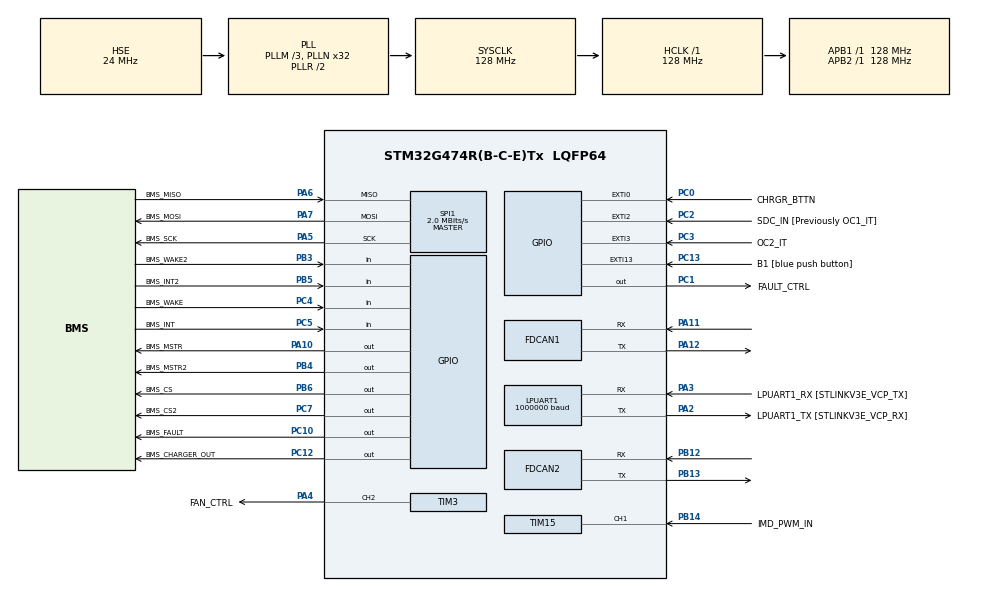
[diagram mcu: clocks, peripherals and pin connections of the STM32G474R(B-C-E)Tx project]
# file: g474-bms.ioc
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Dma.LPUART1_TX.0.Direction=DMA_MEMORY_TO_PERIPH
Dma.LPUART1_TX.0.EventEnable=DISABLE
Dma.LPUART1_TX.0.Instance=DMA1_Channel1
Dma.LPUART1_TX.0.MemDataAlignment=DMA_MDATAALIGN_BYTE
Dma.LPUART1_TX.0.MemInc=DMA_MINC_ENABLE
Dma.LPUART1_TX.0.Mode=DMA_NORMAL
Dma.LPUART1_TX.0.PeriphDataAlignment=DMA_PDATAALIGN_BYTE
Dma.LPUART1_TX.0.PeriphInc=DMA_PINC_DISABLE
Dma.LPUART1_TX.0.Polarity=HAL_DMAMUX_REQ_GEN_RISING
Dma.LPUART1_TX.0.Priority=DMA_PRIORITY_LOW
Dma.LPUART1_TX.0.RequestNumber=1
Dma.LPUART1_TX.0.SignalID=NONE
Dma.LPUART1_TX.0.SyncEnable=DISABLE
Dma.LPUART1_TX.0.SyncPolarity=HAL_DMAMUX_SYNC_NO_EVENT
Dma.LPUART1_TX.0.SyncRequestNumber=1
Dma.LPUART1_TX.0.SyncSignalID=NONE
Dma.Request0=LPUART1_TX
FDCAN1.AutoRetransmission=ENABLE
FDCAN1.CalculateBaudRateNominal=500000
FDCAN1.CalculateTimeBitNominal=2000
FDCAN1.CalculateTimeQuantumNominal=125.0
FDCAN1.ClockDivider=FDCAN_CLOCK_DIV1
FDCAN1.DataSyncJumpWidth=1
FDCAN1.NominalPrescaler=16
FDCAN1.NominalSyncJumpWidth=1
FDCAN1.NominalTimeSeg1=13
FDCAN1.NominalTimeSeg2=2
FDCAN2.CalculateBaudRateNominal=1000000
FDCAN2.CalculateTimeBitNominal=1000
FDCAN2.CalculateTimeQuantumNominal=62.5
FDCAN2.NominalPrescaler=8
FDCAN2.NominalTimeSeg1=13
FDCAN2.NominalTimeSeg2=2
LPUART1.BaudRate=1000000
Mcu.Family=STM32G4
Mcu.Name=STM32G474R(B-C-E)Tx
Mcu.Package=LQFP64
NVIC.DMA1_Channel1_IRQn=true\:0\:0\:false\:false\:true\:false\:true\:true
NVIC.EXTI15_10_IRQn=true\:0\:0\:false\:false\:true\:true\:true\:true
NVIC.FDCAN1_IT0_IRQn=true\:0\:0\:false\:false\:true\:true\:true\:true
NVIC.LPUART1_IRQn=true\:0\:0\:false\:false\:true\:true\:true\:true
NVIC.PriorityGroup=NVIC_PRIORITYGROUP_4
NVIC.TIM1_BRK_TIM15_IRQn=true\:0\:0\:false\:false\:true\:true\:true\:true
NVIC.TIM1_UP_TIM16_IRQn=true\:0\:0\:false\:false\:true\:true\:true\:true
PA10.GPIO_Label=BMS_MSTR
PA10.Signal=GPIO_Output
PA11.Mode=FDCAN_Activate
PA11.Signal=FDCAN1_RX
PA12.Mode=FDCAN_Activate
PA12.Signal=FDCAN1_TX
PA13.GPIO_Label=T_SWDIO
PA13.Mode=Serial_Wire
PA13.Signal=SYS_JTMS-SWDIO
PA14.GPIO_Label=T_SWCLK
PA14.Mode=Serial_Wire
PA14.Signal=SYS_JTCK-SWCLK
PA2.GPIO_Label=LPUART1_TX [STLINKV3E_VCP_RX]
PA2.Mode=Asynchronous
PA2.Signal=LPUART1_TX
PA3.GPIO_Label=LPUART1_RX [STLINKV3E_VCP_TX]
PA3.Mode=Asynchronous
PA3.Signal=LPUART1_RX
PA4.GPIO_Label=FAN_CTRL
PA4.Signal=S_TIM3_CH2
PA5.GPIO_Label=BMS_SCK
PA5.Mode=Full_Duplex_Master
PA5.Signal=SPI1_SCK
PA6.GPIO_Label=BMS_MISO
PA6.Mode=Full_Duplex_Master
PA6.Signal=SPI1_MISO
PA7.GPIO_Label=BMS_MOSI
PA7.Mode=Full_Duplex_Master
PA7.Signal=SPI1_MOSI
PB12.Mode=FDCAN_Activate
PB12.Signal=FDCAN2_RX
PB13.Mode=FDCAN_Activate
PB13.Signal=FDCAN2_TX
PB14.GPIO_Label=IMD_PWM_IN
PB14.Signal=S_TIM15_CH1
PB3.GPIO_Label=BMS_WAKE2
PB3.Signal=GPIO_Input
PB4.GPIO_Label=BMS_MSTR2
PB4.Signal=GPIO_Output
PB5.GPIO_Label=BMS_INT2
PB5.Signal=GPIO_Input
PB6.GPIO_Label=BMS_CS
PB6.Signal=GPIO_Output
PC0.GPIO_Label=CHRGR_BTTN
PC0.GPIO_ModeDefaultEXTI=GPIO_MODE_IT_FALLING
PC0.GPIO_PuPd=GPIO_NOPULL
PC0.Signal=GPXTI0
PC1.GPIO_Label=FAULT_CTRL
PC1.GPIO_ModeDefaultOutputPP=GPIO_MODE_OUTPUT_OD
PC1.GPIO_PuPd=GPIO_NOPULL
PC1.PinState=GPIO_PIN_SET
PC1.Signal=GPIO_Output
PC10.GPIO_Label=BMS_FAULT
PC10.GPIO_PuPd=GPIO_PULLUP
PC10.PinState=GPIO_PIN_SET
PC10.Signal=GPIO_Output
PC12.GPIO_Label=BMS_CHARGER_OUT
PC12.GPIO_PuPd=GPIO_PULLDOWN
PC12.Signal=GPIO_Output
PC13.GPIO_Label=B1 [blue push button]
PC13.Signal=GPXTI13
PC14-OSC32_IN.GPIO_Label=RCC_OSC32_IN
PC14-OSC32_IN.Mode=LSE-External-Oscillator
PC14-OSC32_IN.Signal=RCC_OSC32_IN
PC15-OSC32_OUT.GPIO_Label=RCC_OSC32_OUT
PC15-OSC32_OUT.Mode=LSE-External-Oscillator
PC15-OSC32_OUT.Signal=RCC_OSC32_OUT
PC2.GPIO_Label=SDC_IN [Previously OC1_IT]
PC2.Signal=GPXTI2
PC3.GPIO_Label=OC2_IT
PC3.Signal=GPXTI3
PC4.GPIO_Label=BMS_WAKE
PC4.Signal=GPIO_Input
PC5.GPIO_Label=BMS_INT
PC5.Signal=GPIO_Input
PC7.GPIO_Label=BMS_CS2
PC7.Signal=GPIO_Output
PF0-OSC_IN.GPIO_Label=RCC_OSC_IN
PF0-OSC_IN.Mode=HSE-External-Oscillator
PF0-OSC_IN.Signal=RCC_OSC_IN
PF1-OSC_OUT.GPIO_Label=RCC_OSC_OUT
PF1-OSC_OUT.Mode=HSE-External-Oscillator
PF1-OSC_OUT.Signal=RCC_OSC_OUT
ProjectManager.HeapSize=0x200
ProjectManager.StackSize=0x400
ProjectManager.TargetToolchain=STM32CubeIDE
RCC.ADC12Freq_Value=128000000
RCC.ADC345Freq_Value=128000000
RCC.AHBFreq_Value=128000000
RCC.APB1Freq_Value=128000000
RCC.APB1TimFreq_Value=128000000
RCC.APB2Freq_Value=128000000
RCC.APB2TimFreq_Value=128000000
RCC.CortexFreq_Value=128000000
RCC.EXTERNAL_CLOCK_VALUE=12288000
RCC.HCLKFreq_Value=128000000
RCC.HSE_VALUE=24000000
RCC.HSI48_VALUE=48000000
RCC.HSI_VALUE=16000000
RCC.PLLM=RCC_PLLM_DIV3
RCC.PLLN=32
RCC.PLLSourceVirtual=RCC_PLLSOURCE_HSE
RCC.RTCClockSelection=RCC_RTCCLKSOURCE_LSE
RCC.SYSCLKFreq_VALUE=128000000
RCC.SYSCLKSource=RCC_SYSCLKSOURCE_PLLCLK
RCC.USBFreq_Value=128000000
RCC.VCOOutputFreq_Value=256000000
SH.S_TIM15_CH1.0=TIM15_CH1,PWM_Input_1
SH.S_TIM3_CH2.0=TIM3_CH2,PWM Generation2 CH2
SPI1.BaudRatePrescaler=SPI_BAUDRATEPRESCALER_64
SPI1.CalculateBaudRate=2.0 MBits/s
SPI1.DataSize=SPI_DATASIZE_8BIT
SPI1.Direction=SPI_DIRECTION_2LINES
SPI1.Mode=SPI_MODE_MASTER
SPI1.VirtualType=VM_MASTER
TIM15.Prescaler=0
TIM16.AutoReloadPreload=TIM_AUTORELOAD_PRELOAD_DISABLE
TIM16.PeriodNoDither=10000 - 1
TIM16.Prescaler=1280 - 1
TIM2.PeriodNoDither=4294967295
TIM2.Prescaler=128-1
TIM3.AutoReloadPreload=TIM_AUTORELOAD_PRELOAD_ENABLE
TIM3.Channel-PWM\ Generation2\ CH2=TIM_CHANNEL_2
TIM3.PeriodNoDither=256 - 1
TIM3.Prescaler=20 - 1
VP_SYS_VS_DBSignals.Mode=DisableDeadBatterySignals
VP_TIM15_VS_ClockSourceINT.Mode=Internal
VP_TIM16_VS_ClockSourceINT.Mode=Enable_Timer
VP_TIM2_VS_ClockSourceINT.Mode=Internal
VP_TIM3_VS_ClockSourceINT.Mode=Internal
board=NUCLEO-G474RE

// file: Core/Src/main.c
/* USER CODE BEGIN Header */
/**
  ******************************************************************************
  * @file           : main.c
  * @brief          : Main program body
  ******************************************************************************
  * @attention
  *
  * Copyright (c) 2024 STMicroelectronics.
  * All rights reserved.
  *
  * This software is licensed under terms that can be found in the LICENSE file
  * in the root directory of this software component.
  * If no LICENSE file comes with this software, it is provided AS-IS.
  *
  ******************************************************************************
  */
/* USER CODE END Header */
#include "main.h"
#include "dma.h"
#include "fdcan.h"
#include "usart.h"
#include "spi.h"
#include "tim.h"
#include "gpio.h"

/* USER CODE BEGIN Includes */
#include "string.h"
#include "stdio.h"

#include "bms_cmdlist.h"
#include "bms_datatypes.h"
#include "bms_utility.h"
#include "bms_mcuWrapper.h"
#include "bms_libWrapper.h"

#include "uartDMA.h"
#include "bms_can.h"

/* USER CODE END Includes */

/* USER CODE BEGIN PTD */

typedef struct {
    volatile uint32_t runtime_sec;
    volatile uint32_t counter_commsError;
    volatile uint32_t counter_commsErrorCumulative;
} ProgramStats;

typedef struct {
    uint32_t freq;
    uint32_t period;
    float duty;
} ImdStatus;

/* USER CODE END PTD */

/* USER CODE BEGIN PV */

ProgramStats    programStats = {0};
ImdStatus       imdStatus = {0};

volatile bool initRequired = true;

const uint32_t MAIN_LOOP_DELAY = 10;

static const bool DEBUG_SERIAL_LOOP_TIME = false;

/* USER CODE END PV */

void SystemClock_Config(void);
/* USER CODE BEGIN PFP */

void BMS_WriteFanDuty(float duty);
void BMS_WriteFaultSignal(bool state);
void BMS_FaultHandler(BMS_StatusTypeDef status);

/* USER CODE END PFP */

int main(void)
{

  /* MCU Configuration--------------------------------------------------------*/

  /* Reset of all peripherals, Initializes the Flash interface and the Systick. */
  HAL_Init();

  /* Configure the system clock */
  SystemClock_Config();

  /* Initialize all configured peripherals */
  MX_GPIO_Init();
  MX_DMA_Init();
  MX_LPUART1_UART_Init();
  MX_SPI1_Init();
  MX_TIM2_Init();
  MX_TIM16_Init();
  MX_FDCAN1_Init();
  MX_FDCAN2_Init();
  MX_TIM15_Init();
  MX_TIM3_Init();

  /* Infinite loop */
  /* USER CODE BEGIN WHILE */

    // Set CS2 Pin to HIGH to disable second SPI on 6822 + MSTR should be high by default
    HAL_GPIO_WritePin(BMS_CS2_GPIO_Port, BMS_CS2_Pin, GPIO_PIN_SET);
    HAL_GPIO_WritePin(BMS_MSTR_GPIO_Port, BMS_MSTR_Pin, GPIO_PIN_SET);
    HAL_GPIO_WritePin(BMS_MSTR2_GPIO_Port, BMS_MSTR2_Pin, GPIO_PIN_SET);

    // Fault By Default
    BMS_WriteFaultSignal(true);

    // Configure FDCAN
    BMS_CAN_Config();

    //BMS_CAN_Test();

    // Start Timer16
    HAL_TIM_Base_Start_IT(&htim16);
    HAL_TIM_IC_Start_IT(&htim15, TIM_CHANNEL_1); // Signal Input Channel (Main)
    HAL_TIM_IC_Start(&htim15, TIM_CHANNEL_2);    // Secondary Channel

    HAL_TIM_PWM_Start(&htim3, TIM_CHANNEL_2);       // Fan PWM Output
    BMS_WriteFanDuty(0.7);

    uint32_t timeDiff = 0;
    uint32_t timeStart;

    printfDma("\n\n +++++             PROGRAM START             +++++ \n\n");
    bms_softReset();
    HAL_Delay(500);         // Initialisation delay

    bms_wakeupChain();
    bms_softReset();

    BMS_StatusTypeDef bmsStatus;
    while (1)
    {
        timeStart = HAL_GetTick();
        //BMS_CAN_Test();

        // Init BMS
        if (initRequired == true)
        {
            bmsStatus = bms_init();
            if (bms_init() == BMS_OK)
            {
                initRequired = false;
            }
            else
            {
                BMS_FaultHandler(bmsStatus);
                continue;
            }
        }

        // BMS Program Loop
        bmsStatus = BMS_ProgramLoop();
        if (bmsStatus != BMS_OK)
        {
            BMS_FaultHandler(bmsStatus);
        }

        printfDma("-\n");

        // Calculate single loop runtime
        timeDiff = HAL_GetTick() - timeStart;
        if (DEBUG_SERIAL_LOOP_TIME)
        {
            printfDma("\nRuntime %ld ms, LoopTime %ld ms \n\n", HAL_GetTick(), timeDiff);
        }

        HAL_Delay(MAIN_LOOP_DELAY);

    /* USER CODE END WHILE */

    }
}

void SystemClock_Config(void)
{
  RCC_OscInitTypeDef RCC_OscInitStruct = {0};
  RCC_ClkInitTypeDef RCC_ClkInitStruct = {0};

  /** Configure the main internal regulator output voltage
  */
  HAL_PWREx_ControlVoltageScaling(PWR_REGULATOR_VOLTAGE_SCALE1);

  /** Initializes the RCC Oscillators according to the specified parameters
  * in the RCC_OscInitTypeDef structure.
  */
  RCC_OscInitStruct.OscillatorType = RCC_OSCILLATORTYPE_HSE;
  RCC_OscInitStruct.HSEState = RCC_HSE_ON;
  RCC_OscInitStruct.PLL.PLLState = RCC_PLL_ON;
  RCC_OscInitStruct.PLL.PLLSource = RCC_PLLSOURCE_HSE;
  RCC_OscInitStruct.PLL.PLLM = RCC_PLLM_DIV3;
  RCC_OscInitStruct.PLL.PLLN = 32;
  RCC_OscInitStruct.PLL.PLLP = RCC_PLLP_DIV2;
  RCC_OscInitStruct.PLL.PLLQ = RCC_PLLQ_DIV2;
  RCC_OscInitStruct.PLL.PLLR = RCC_PLLR_DIV2;
  if (HAL_RCC_OscConfig(&RCC_OscInitStruct) != HAL_OK)
  {
    Error_Handler();
  }

  /** Initializes the CPU, AHB and APB buses clocks
  */
  RCC_ClkInitStruct.ClockType = RCC_CLOCKTYPE_HCLK|RCC_CLOCKTYPE_SYSCLK
                              |RCC_CLOCKTYPE_PCLK1|RCC_CLOCKTYPE_PCLK2;
  RCC_ClkInitStruct.SYSCLKSource = RCC_SYSCLKSOURCE_PLLCLK;
  RCC_ClkInitStruct.AHBCLKDivider = RCC_SYSCLK_DIV1;
  RCC_ClkInitStruct.APB1CLKDivider = RCC_HCLK_DIV1;
  RCC_ClkInitStruct.APB2CLKDivider = RCC_HCLK_DIV1;

  if (HAL_RCC_ClockConfig(&RCC_ClkInitStruct, FLASH_LATENCY_4) != HAL_OK)
  {
    Error_Handler();
  }
}

/* USER CODE BEGIN 4 */

/// Timer interrupt callback
// Callback: timer has rolled over
void HAL_TIM_PeriodElapsedCallback(TIM_HandleTypeDef *htim)
{
    uint32_t currentTime = HAL_GetTick(); // Get current time

    // Check which version of the timer triggered this callback and toggle LED
    static uint32_t secondsDiv = 0;

    // CAN Transmit Periodic Timing Variable
    static uint32_t canTiming = 0;

    // Voltage fault timer variables
    const uint32_t VOLTAGE_FAULT_PERIOD = 500 - 10;
    static uint32_t lastVoltageFaultTime = 0;
    static bool voltageFaultDetected = false;

    // Temperature fault Time
    const uint32_t TEMP_FAULT_PERIOD = 1000 - 10;
    static uint32_t lastTempFaultTime = 0;
    static bool tempFaultDetected = false;

    if (htim == &htim16) // This is triggered 10x every second
    {
        // runtime (seconds) timer
        if (++secondsDiv >= 10)
        {
            programStats.runtime_sec += 1;
            secondsDiv = 0;
        }

        // CAN Timing Divider
        if (++canTiming >= 5)
        {
            CanTxMsg *msgArr = NULL;
            uint32_t len = 0;
            BMS_GetCanData(&msgArr, &len);
            BMS_CAN_SendBuffer(msgArr, len);
            canTiming = 0;
        }

        // voltage fault handling
        if (BMS_CheckVoltage() == BMS_OK)       // If OK:
        {
            voltageFaultDetected = false;
        }
        else                                    // If NOT OK
        {
            if (!voltageFaultDetected)          // First time NOT OK
            {
                voltageFaultDetected = true;
                lastVoltageFaultTime = currentTime;
            }
            else if (currentTime - lastVoltageFaultTime > VOLTAGE_FAULT_PERIOD)     // NOT OK for given period
            {
                BMS_WriteFaultSignal(true);
            }
        }

        // temperature fault handling
        if (BMS_CheckTemps() == BMS_OK)     // If OK:
        {
            tempFaultDetected = false;
        }
        else                                // If NOT OK
        {
            if (!tempFaultDetected)         // First time NOT OK
            {
                tempFaultDetected = true;
                lastTempFaultTime = currentTime;
            }
            else if (currentTime - lastTempFaultTime > TEMP_FAULT_PERIOD)     // NOT OK for given period
            {
                BMS_WriteFaultSignal(true);
            }
        }

        // Disable fault signal only if everything is OK
        if (!tempFaultDetected && !voltageFaultDetected && (BMS_CheckCommsFault() == BMS_OK))
        {
            BMS_WriteFaultSignal(false);
        }

        // If charging and SDC is disconnected (LOW):
        if (BMS_IsCharging() && !HAL_GPIO_ReadPin(SDC_IN_GPIO_Port, SDC_IN_Pin))
        {
            printfDma("SDC Disconnected, Disabling Charging \n");
            BMS_EnableCharging(false);
        }
    }
}

void HAL_TIM_IC_CaptureCallback(TIM_HandleTypeDef *htim)
{
    if (htim == &htim15)   // PWM input
    {
        const uint32_t clockFreq = 128 * 1000 * 1000; // in Hz

        imdStatus.period = HAL_TIM_ReadCapturedValue(htim, TIM_CHANNEL_1);
        if (imdStatus.period != 0)
        {
            imdStatus.duty = (HAL_TIM_ReadCapturedValue(htim, TIM_CHANNEL_2)*100.0) / imdStatus.period;
            imdStatus.freq = (clockFreq/imdStatus.period);
        }
    }
}

void HAL_GPIO_EXTI_Callback(uint16_t GPIO_Pin)
{
    uint32_t currentTime = HAL_GetTick();

    const uint32_t DEBOUNCE_DELAY = 500;
    static uint32_t lastDebounceTime = 0;

    switch (GPIO_Pin)
    {
	case B1_Pin:        // Balancing Button
        // Debounce check
        if (currentTime - lastDebounceTime < DEBOUNCE_DELAY) break;
        lastDebounceTime = currentTime;

        printfDma("Balancing Button pressed\n");
        BMS_ToggleBalancing();
        break;

    default:
        break;
    }
}

void BMS_FaultHandler(BMS_StatusTypeDef status)
{
    const uint32_t COMMS_RETRY_DELAY = 500;
    const uint32_t COMMS_RETRY_TIMES = 5;

    // Disable discharge in any case
    bms_wakeupChain();
    bms_stopDischarge();

    // if currently charging:
    if (BMS_IsCharging())
    {
        printfDma("Fault Detected, Disabling Charging \n");
        BMS_EnableCharging(false);
    }

    switch (status)
    {
    case BMS_ERR_COMMS:
        BMS_SetCommsFault(true);
        programStats.counter_commsError = 0;
        do
        {
            programStats.counter_commsError++;
            programStats.counter_commsErrorCumulative++;
            if (programStats.counter_commsError > COMMS_RETRY_TIMES)
            {
                BMS_WriteFaultSignal(true);
            }
            HAL_Delay(COMMS_RETRY_DELAY);
            bms_softReset();
            bms_wakeupChain();
        }
        while (bms_readRegister(REG_SID) != BMS_OK);

        initRequired = true; // After comms is OK, redo init
        break;
    default:
        break;

    /*bms_stopDischarge();
    BMS_EnableBalancing(false);
    BMS_EnableCharging(false);*/
    }
}

void BMS_WriteFanDuty(float duty)
{
    if (duty > 1 || duty <= 0)
        return;

    duty = 1 - duty;

    TIM3->CCR2 = (uint16_t)(255.0 * duty);
}

/* USER CODE END 4 */

void Error_Handler(void)
{
  __disable_irq();
  while (1)
  {
  }
}
